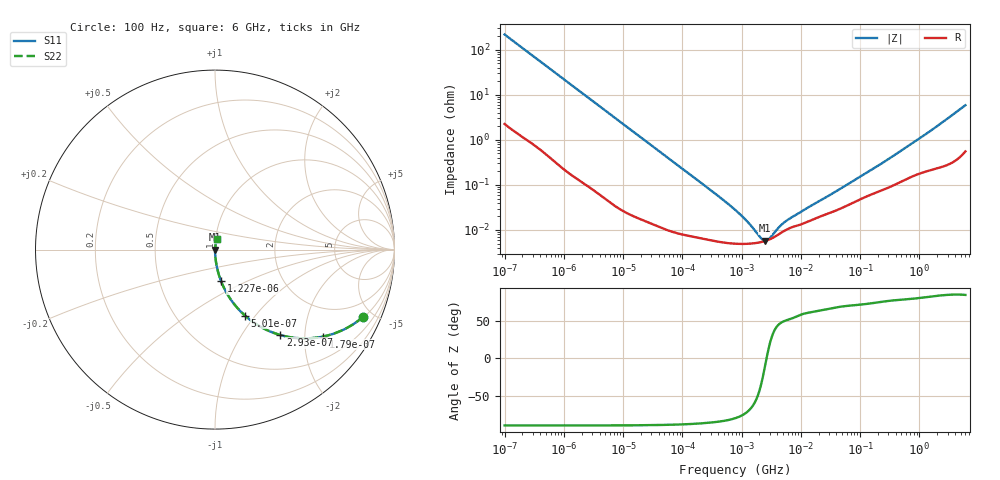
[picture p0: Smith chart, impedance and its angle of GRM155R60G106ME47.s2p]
!Murata Part Number: GRM155R60G106ME47
!These Parameters are Measured in Series Mode Connection
!Data Generated on Mar 30, 2021
!  o--ll--o
!Port1  Port2
!  o------o
!Operation Temp=25[degC], DC Bias Voltage=0[V]
!Freq. Start=100[Hz] Stop=6[GHz] 401[Steps]
# Hz S RI R 50
!Freq.(Hz) S11(Real) S11(Imag) S21(Real) S21(Imag) S12(Real) S12(Imag) S22(Real) S22(Imag)
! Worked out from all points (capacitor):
!   401 points, 100 Hz to 6 GHz, reference 50 ohm
!   read as one part in series: C = 7.23 uF near 109 Hz
!   lowest |Z| = 5.78 mohm at 2.481 MHz (marker M1)
!   series resonance near 2.638 MHz, so ESL is about 500 pH
!   S11 on the Smith chart (normalised r, x): 100 Hz: 1.05, -4.39; 179 Hz: 1.03, -2.46; 293 Hz: 1.02, -1.51; 501 Hz: 1.01, -0.89; 1.227 kHz: 1.00, -0.36; 6 GHz: 1.01, +0.12
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100  0.8256 -0.3744  0.1744 0.3744  0.1744 0.3744  0.8256 -0.3744
120  0.7691 -0.4163  0.2309 0.4163  0.2309 0.4163  0.7691 -0.4163
179  0.6013 -0.4845  0.3987 0.4845  0.3987 0.4845  0.6013 -0.4845
293  0.3643 -0.4758  0.6357 0.4758  0.6357 0.4758  0.3643 -0.4758
501  0.1666 -0.3673  0.8334 0.3673  0.8334 0.3673  0.1666 -0.3673
750  0.0833 -0.2712  0.9167 0.2712  0.9167 0.2712  0.0833 -0.2712
1227  0.0336 -0.1754  0.9664 0.1754  0.9664 0.1754  0.0336 -0.1754
2008  0.0134 -0.1098  0.9866 0.1098  0.9866 0.1098  0.0134 -0.1098
6433  0.00161 -0.035  0.9984 0.035  0.9984 0.035  0.00161 -0.035
40335  0.000149 -0.00565  0.9999 0.00565  0.9999 0.00565  0.000149 -0.00565
345986  5.75e-05 -0.000664  0.9999 0.000664  0.9999 0.000664  5.75e-05 -0.000664
774597  4.97e-05 -0.000278  1 0.000278  1 0.000278  4.97e-05 -0.000278
1658239  5.09e-05 -8.56e-05  0.9999 8.56e-05  0.9999 8.56e-05  5.09e-05 -8.56e-05
1813585  5.18e-05 -6.82e-05  0.9999 6.82e-05  0.9999 6.82e-05  5.18e-05 -6.82e-05
2481164  5.68e-05 -1.08e-05  0.9999 1.08e-05  0.9999 1.08e-05  5.68e-05 -1.08e-05
3882480  7.45e-05 6.64e-05  0.9999 -6.64e-05  0.9999 -6.64e-05  7.45e-05 6.64e-05
6075234  0.000106 0.000133  0.9999 -0.000133  0.9999 -0.000133  0.000106 0.000133
1.555665e7  0.000169 0.000316  0.9998 -0.000316  0.9998 -0.000316  0.000169 0.000316
4.165952e7  0.00028 0.0007  0.9997 -0.0007  0.9997 -0.0007  0.00028 0.0007
3.124326e8  0.000905 0.00377  0.9991 -0.00377  0.9991 -0.00377  0.000905 0.00377
1.369159e9  0.00222 0.014  0.9978 -0.014  0.9978 -0.014  0.00222 0.014
6e9  0.0089 0.0578  0.9911 -0.0578  0.9911 -0.0578  0.0089 0.0578
